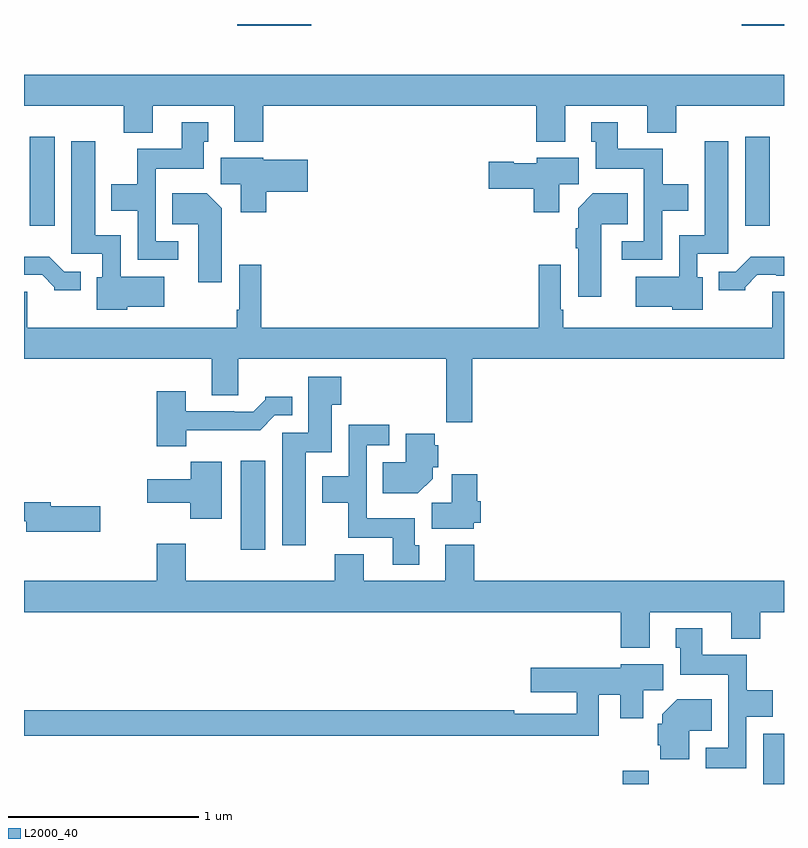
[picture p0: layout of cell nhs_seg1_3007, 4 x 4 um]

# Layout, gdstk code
import gdstk
lib = gdstk.Library(unit=1e-6, precision=1e-09)
def R(c, l, rs):  # rectangles x0, y0, x1, y1
    for r in rs: c.add(gdstk.rectangle(r[:2], r[2:], *l))
def P(c, l, *ps):  # polygons
    for p in ps: c.add(gdstk.Polygon(p, *l))
L2000_40 = (2000, 40)

nhs_seg1_3007 = lib.new_cell('nhs_seg1_3007')
R(nhs_seg1_3007, L2000_40, [(278.152,512.199,278.288,512.269), (278.891,512.199,279,512.464), (276.14,513.432,276.271,513.901), (275.03,515.136,275.161,515.605), (278.795,515.136,278.926,515.605), (276.122,516.191,276.511,516.199), (278.778,516.191,279,516.199)])
P(nhs_seg1_3007, L2000_40, [(276.26,515.768),(277.697,515.768),(277.697,515.579),(277.849,515.579),(277.849,515.768),(278.279,515.768),(278.279,515.627),(278.432,515.627),(278.432,515.768),(279,515.768),(279,515.932),(275,515.932),(275,515.768),(275.525,515.768),(275.525,515.627),(275.677,515.627),(275.677,515.768),(276.107,515.768),(276.107,515.579),(276.26,515.579)],
  [(278.358,515.216),(278.497,515.216),(278.497,515.356),(278.361,515.356),(278.361,515.542),(278.125,515.542),(278.125,515.683),(277.985,515.683),(277.985,515.58),(278.009,515.58),(278.009,515.438),(278.262,515.438),(278.262,515.055),(278.145,515.055),(278.145,514.959),(278.358,514.959)],
  [(275.812,515.055),(275.694,515.055),(275.694,515.438),(275.947,515.438),(275.947,515.58),(275.971,515.58),(275.971,515.683),(275.831,515.683),(275.831,515.542),(275.596,515.542),(275.596,515.356),(275.459,515.356),(275.459,515.216),(275.598,515.216),(275.598,514.959),(275.812,514.959)],
  [(278.572,514.866),(278.544,514.866),(278.544,514.989),(278.707,514.989),(278.707,515.581),(278.582,515.581),(278.582,515.086),(278.448,515.086),(278.448,514.87),(278.22,514.87),(278.22,514.712),(278.412,514.712),(278.412,514.694),(278.572,514.694)],
  [(275.544,514.712),(275.737,514.712),(275.737,514.87),(275.508,514.87),(275.508,515.086),(275.374,515.086),(275.374,515.581),(275.249,515.581),(275.249,514.989),(275.412,514.989),(275.412,514.866),(275.384,514.866),(275.384,514.694),(275.544,514.694)],
  [(276.275,515.315),(276.493,515.315),(276.493,515.485),(276.258,515.485),(276.258,515.494),(276.035,515.494),(276.035,515.356),(276.14,515.356),(276.14,515.208),(276.275,515.208)],
  [(277.816,515.356),(277.921,515.356),(277.921,515.494),(277.698,515.494),(277.698,515.467),(277.578,515.467),(277.578,515.475),(277.446,515.475),(277.446,515.333),(277.682,515.333),(277.682,515.208),(277.816,515.208)],
  [(278.038,515.144),(278.177,515.144),(278.177,515.308),(277.994,515.308),(277.916,515.23),(277.916,515.123),(277.904,515.123),(277.904,515.02),(277.916,515.02),(277.916,514.764),(278.038,514.764)],
  [(276.04,515.23),(275.962,515.308),(275.779,515.308),(275.779,515.144),(275.918,515.144),(275.918,514.839),(276.04,514.839)],
  [(278.796,514.814),(278.86,514.878),(278.959,514.878),(278.959,514.875),(279,514.875),(279,514.975),(278.824,514.975),(278.745,514.896),(278.657,514.896),(278.657,514.799),(278.796,514.799)],
  [(275.299,514.896),(275.211,514.896),(275.133,514.975),(275,514.975),(275,514.878),(275.096,514.878),(275.16,514.814),(275.16,514.799),(275.299,514.799)],
  [(275,514.79),(275,514.436),(275.987,514.436),(275.987,514.246),(276.127,514.246),(276.127,514.436),(277.222,514.436),(277.222,514.104),(277.358,514.104),(277.358,514.436),(279,514.436),(279,514.79),(278.939,514.79),(278.939,514.6),(277.837,514.6),(277.837,514.696),(277.824,514.696),(277.824,514.933),(277.708,514.933),(277.708,514.6),(276.248,514.6),(276.248,514.933),(276.132,514.933),(276.132,514.696),(276.12,514.696),(276.12,514.6),(275.017,514.6),(275.017,514.79)],
  [(276.484,513.944),(276.619,513.944),(276.619,514.195),(276.671,514.195),(276.671,514.342),(276.497,514.342),(276.497,514.047),(276.359,514.047),(276.359,513.456),(276.484,513.456)],
  [(275.854,514.062),(276.243,514.062),(276.321,514.14),(276.412,514.14),(276.412,514.237),(276.27,514.237),(276.27,514.222),(276.206,514.158),(276.107,514.158),(276.107,514.161),(275.851,514.161),(275.851,514.267),(275.699,514.267),(275.699,513.977),(275.854,513.977)],
  [(277.081,513.456),(277.057,513.456),(277.057,513.598),(276.804,513.598),(276.804,513.981),(276.922,513.981),(276.922,514.09),(276.708,514.09),(276.708,513.82),(276.569,513.82),(276.569,513.68),(276.706,513.68),(276.706,513.494),(276.941,513.494),(276.941,513.354),(277.081,513.354)],
  [(277.15,513.806),(277.15,513.867),(277.179,513.867),(277.179,513.981),(277.163,513.981),(277.163,514.042),(277.01,514.042),(277.01,513.892),(276.889,513.892),(276.889,513.728),(277.072,513.728)],
  [(276.04,513.895),(275.878,513.895),(275.878,513.802),(275.649,513.802),(275.649,513.68),(275.876,513.68),(275.876,513.594),(276.04,513.594)],
  [(277.368,513.573),(277.403,513.573),(277.403,513.687),(277.385,513.687),(277.385,513.829),(277.251,513.829),(277.251,513.68),(277.145,513.68),(277.145,513.542),(277.368,513.542)],
  [(275.401,513.662),(275.14,513.662),(275.14,513.683),(275,513.683),(275,513.582),(275.012,513.582),(275.012,513.527),(275.401,513.527)],
  [(278.293,513.104),(278.723,513.104),(278.723,512.963),(278.876,512.963),(278.876,513.104),(279,513.104),(279,513.268),(277.37,513.268),(277.37,513.457),(277.217,513.457),(277.217,513.268),(276.787,513.268),(276.787,513.409),(276.635,513.409),(276.635,513.268),(275.851,513.268),(275.851,513.463),(275.699,513.463),(275.699,513.268),(275,513.268),(275,513.104),(278.141,513.104),(278.141,512.915),(278.293,512.915)],
  [(278.802,512.552),(278.941,512.552),(278.941,512.692),(278.805,512.692),(278.805,512.878),(278.569,512.878),(278.569,513.019),(278.429,513.019),(278.429,512.916),(278.453,512.916),(278.453,512.774),(278.706,512.774),(278.706,512.391),(278.589,512.391),(278.589,512.283),(278.802,512.283)],
  [(278.025,512.669),(278.138,512.669),(278.138,512.544),(278.259,512.544),(278.259,512.692),(278.365,512.692),(278.365,512.83),(278.142,512.83),(278.142,512.811),(277.668,512.811),(277.668,512.681),(277.909,512.681),(277.909,512.568),(277.58,512.568),(277.58,512.588),(275,512.588),(275,512.452),(278.025,512.452)],
  [(278.5,512.48),(278.621,512.48),(278.621,512.644),(278.438,512.644),(278.36,512.566),(278.36,512.517),(278.336,512.517),(278.336,512.403),(278.348,512.403),(278.348,512.33),(278.5,512.33)])

lib.write_gds('nhs_seg1_3007.gds')
